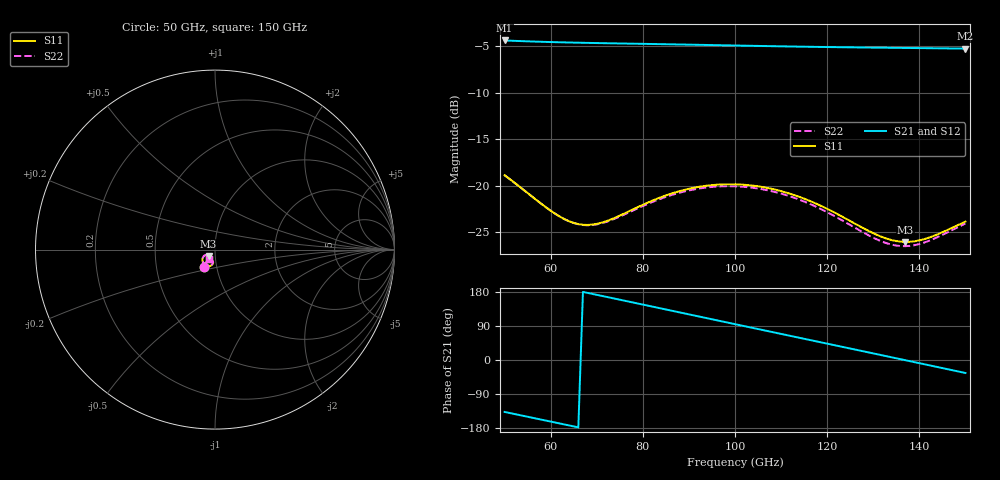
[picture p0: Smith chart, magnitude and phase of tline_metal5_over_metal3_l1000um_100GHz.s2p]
#  GHZ S DB R 50
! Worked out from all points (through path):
!   101 points, 50 GHz to 150 GHz, reference 50 ohm
!   highest |S21| = -4.39 dB at 50 GHz (marker M1); lowest = -5.3 dB at 150 GHz (marker M2)
!   group delay of S21, straight-line fit = 7.15 ps
!   lowest |S11| = -26.0 dB at 137 GHz (marker M3), VSWR 1.11, Z = 46.4 - j3.26 ohm
!   |S11| at or under -10 dB: start of sweep to end of sweep
!   |S22| runs from -26.5 to -18.9 dB; largest |S21 - S12| = 6.3e-14
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50  -18.86 -121.1  -4.39 -137.1  -4.39 -137.1  -18.87 -121.2
55  -20.78 -124.4  -4.48 -149.8  -4.48 -149.8  -20.78 -124.7
59  -22.32 -123.4  -4.54 -160.0  -4.54 -160.0  -22.32 -123.8
63  -23.58 -118.5  -4.60 -170.1  -4.60 -170.1  -23.58 -119.1
67  -24.18 -110.7  -4.64 179.6  -4.64 179.6  -24.21 -111.6
71  -23.97 -103.3  -4.68 169.4  -4.68 169.4  -24.03 -104.3
75  -23.20 -99.0  -4.71 159.1  -4.71 159.1  -23.30 -100.0
79  -22.27 -98.3  -4.74 148.8  -4.74 148.8  -22.40 -99.3
84  -21.21 -101.3  -4.79 135.9  -4.79 135.9  -21.37 -102.3
92  -20.13 -111.0  -4.86 115.3  -4.86 115.3  -20.31 -112.0
96  -19.88 -117.0  -4.89 104.9  -4.89 104.9  -20.08 -118.1
100  -19.84 -123.3  -4.93 94.6  -4.93 94.6  -20.05 -124.3
104  -19.99 -129.5  -4.97 84.3  -4.97 84.3  -20.22 -130.6
108  -20.33 -135.4  -5.00 74.0  -5.00 74.0  -20.59 -136.6
112  -20.86 -140.9  -5.04 63.7  -5.04 63.7  -21.14 -142.1
117  -21.79 -146.4  -5.07 50.9  -5.07 50.9  -22.12 -147.6
122  -22.98 -149.6  -5.11 38.0  -5.11 38.0  -23.37 -150.7
126  -24.06 -149.7  -5.13 27.7  -5.13 27.7  -24.49 -150.6
134  -25.83 -141.1  -5.18 7.1  -5.18 7.1  -26.32 -141.0
137  -26.03 -135.6  -5.19 -0.6  -5.19 -0.6  -26.48 -134.9
143  -25.40 -125.8  -5.22 -16.1  -5.22 -16.1  -25.72 -124.7
150  -23.85 -122.1  -5.27 -34.3  -5.27 -34.3  -24.05 -121.4
